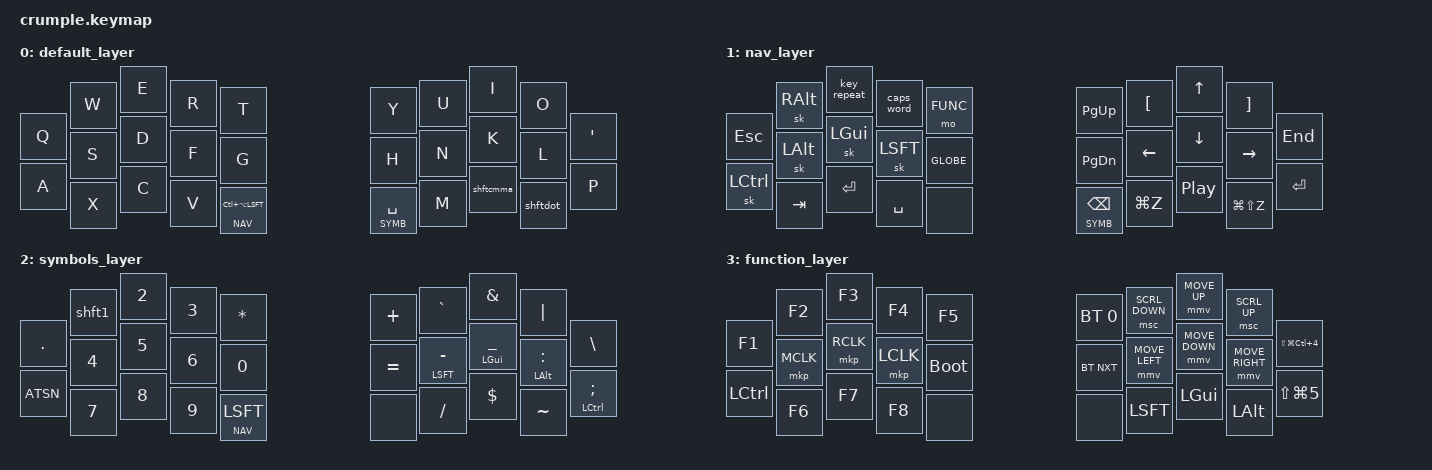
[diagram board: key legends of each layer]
/*
 * Copyright (c) 2020 The ZMK Contributors
 *
 * SPDX-License-Identifier: MIT
 */

#include <behaviors.dtsi>
#include <dt-bindings/zmk/keys.h>
#include <dt-bindings/zmk/bt.h>

#define ZMK_POINTING_DEFAULT_MOVE_VAL 1500
#define ZMK_POINTING_DEFAULT_SCRL_VAL 20
#include <dt-bindings/zmk/pointing.h>

#define DEFAULT 0
#define NAV 1
#define SYMB 2
#define FUNC 3

&sk {
  release-after-ms = <500>;
  quick-release;
};

&lt {
  flavor = "balanced";
  tapping-term-ms = <150>;
  quick-tap-ms = <200>;
};

// &mmv {
  // time-to-max-speed-ms = <300>;
  // acceleration-exponent = <1>;
// };

/ {
  combos {
    compatible = "zmk,combos";
    z {
      timeout-ms = <40>;
      key-positions = <11 12>;
      bindings = <&kp Z>;
      layers = <DEFAULT>;
    };
    b {
      timeout-ms = <40>;
      key-positions = <12 13>;
      bindings = <&kp B>;
      layers = <DEFAULT>;
    };
    j {
      timeout-ms = <40>;
      key-positions = <16 17>;
      bindings = <&kp J>;
      layers = <DEFAULT>;
    };
    slash {
      timeout-ms = <40>;
      key-positions = <17 18>;
      bindings = <&kp FSLH>;
      layers = <DEFAULT>;
    };

    britup {
      timeout-ms = <50>;
      key-positions = <1 2 3>;
      bindings = <&kp C_BRI_UP>;
      layers = <DEFAULT>;
    };
    caps {
      timeout-ms = <50>;
      key-positions = <11 12 13>;
      bindings = <&kp CAPS>;
      layers = <DEFAULT>;
    };
    britdn {
      timeout-ms = <50>;
      key-positions = <20 21 22>;
      bindings = <&kp C_BRI_DN>;
      layers = <DEFAULT>;
    };
    volup {
      timeout-ms = <50>;
      key-positions = <6 7 8>;
      bindings = <&kp C_VOL_UP>;
      layers = <DEFAULT>;
    };
    volmt {
      timeout-ms = <50>;
      key-positions = <16 17 18>;
      bindings = <&kp C_MUTE>;
      layers = <DEFAULT>;
    };
    voldn {
      timeout-ms = <50>;
      key-positions = <25 26 27>;
      bindings = <&kp C_VOL_DN>;
      layers = <DEFAULT>;
    };

    bksp {
      timeout-ms = <50>;
      key-positions = <21 22>;
      bindings = <&kp BKSP>;
      layers = <NAV>;
    };
    prev {
      timeout-ms = <50>;
      key-positions = <25 26>;
      bindings = <&kp C_PREV>;
      layers = <NAV>;
    };
    next {
      timeout-ms = <50>;
      key-positions = <26 27>;
      bindings = <&kp C_NEXT>;
      layers = <NAV>;
    };

    lpar {
      timeout-ms = <50>;
      key-positions = <12 13>;
      bindings = <&kp LPAR>;
      layers = <SYMB>;
    };
    rpar {
      timeout-ms = <50>;
      key-positions = <16 17>;
      bindings = <&kp RPAR>;
      layers = <SYMB>;
    };
    lbkt {
      timeout-ms = <50>;
      key-positions = <11 12>;
      bindings = <&kp LBKT>;
      layers = <SYMB>;
    };
    rbkt {
      timeout-ms = <50>;
      key-positions = <17 18>;
      bindings = <&kp RBKT>;
      layers = <SYMB>;
    };
    lbrc {
      timeout-ms = <50>;
      key-positions = <2 3>;
      bindings = <&kp LBRC>;
      layers = <SYMB>;
    };
    rbrc {
      timeout-ms = <50>;
      key-positions = <6 7>;
      bindings = <&kp RBRC>;
      layers = <SYMB>;
    };
    lt {
      timeout-ms = <50>;
      key-positions = <1 2>;
      bindings = <&kp LT>;
      layers = <SYMB>;
    };
    gt {
      timeout-ms = <50>;
      key-positions = <7 8>;
      bindings = <&kp GT>;
      layers = <SYMB>;
    };

    btclr {
      timeout-ms = <50>;
      key-positions = <10 19>;
      bindings = <&bt BT_CLR>;
      layers = <FUNC>;
    };
    f9 {
      timeout-ms = <50>;
      key-positions = <1 2>;
      bindings = <&kp F9>;
      layers = <FUNC>;
    };
    f10 {
      timeout-ms = <50>;
      key-positions = <2 3>;
      bindings = <&kp F10>;
      layers = <FUNC>;
    };
    f11 {
      timeout-ms = <50>;
      key-positions = <20 21>;
      bindings = <&kp F11>;
      layers = <FUNC>;
    };
    f12 {
      timeout-ms = <50>;
      key-positions = <21 22>;
      bindings = <&kp F12>;
      layers = <FUNC>;
    };
    bt0 {
      timeout-ms = <50>;
      key-positions = <11 12>;
      bindings = <&bt BT_SEL 0>;
      layers = <FUNC>;
    };
    btnxt {
      timeout-ms = <50>;
      key-positions = <12 13>;
      bindings = <&bt BT_NXT>;
      layers = <FUNC>;
    };
    scrl_left {
      timeout-ms = <50>;
      key-positions = <7 8>;
      bindings = <&msc SCRL_LEFT>;
      layers = <FUNC>;
    };
    scrl_right {
      timeout-ms = <50>;
      key-positions = <6 7>;
      bindings = <&msc SCRL_RIGHT>;
      layers = <FUNC>;
    };
  };

  behaviors {
    lm: layer_mod {
      compatible = "zmk,behavior-hold-tap";
      #binding-cells = <2>;
      flavor = "hold-preferred";
      tapping-term-ms = <150>;
      quick-tap-ms = <200>;
      bindings = <&mo>, <&sk>;
    };
    smt: sticky_mod_tap {
      compatible = "zmk,behavior-hold-tap";
      #binding-cells = <2>;
      flavor = "balanced";
      tapping-term-ms = <150>;
      quick-tap-ms = <200>;
      bindings = <&sk>, <&kp>;
    };

    shftcmma: shift_comma {
      compatible = "zmk,behavior-mod-morph";
      #binding-cells = <0>;
      bindings = <&kp CMMA>, <&kp QMARK>;
      mods = <(MOD_LSFT)>;
    };
    shftdot: shift_dot {
      compatible = "zmk,behavior-mod-morph";
      #binding-cells = <0>;
      bindings = <&kp DOT>, <&kp BANG>;
      mods = <(MOD_LSFT)>;
    };
    shft1: shift_1 {
      compatible = "zmk,behavior-mod-morph";
      #binding-cells = <0>;
      bindings = <&kp N1>, <&kp COMMA>;
      mods = <(MOD_LSFT)>;
    };

    conditional_layers {
      compatible = "zmk,conditional-layers";
      tri_layer {
        if-layers = <NAV SYMB>;
        then-layer = <FUNC>;
      };
    };
  };

  keymap {
    compatible = "zmk,keymap";
    default_layer {
      bindings = <
        &kp Q  &kp W  &kp E  &kp R  &kp T                           &kp Y  &kp U  &kp I   &kp O     &kp QUOT
        &kp A  &kp S  &kp D  &kp F  &kp G                           &kp H  &kp N  &kp K   &kp L     &kp P
               &kp X  &kp C  &kp V  &lm NAV LC(LA(LSFT))   &lt SYMB SPACE  &kp M  &shftcmma  &shftdot
      >;
    };

    nav_layer {
      bindings = <
        &kp ESC   &sk RALT  &key_repeat  &caps_word  &mo FUNC       &kp PG_UP     &kp LBKT        &kp UP          &kp RBKT        &kp END
        &sk LCTL  &sk LALT  &sk LGUI     &sk LSFT    &kp GLOBE        &kp PG_DN     &kp LEFT        &kp DOWN        &kp RIGHT       &kp ENTER
                  &kp TAB   &kp ENTER    &kp SPC     &none            &lt SYMB BKSP  &kp LG(Z)      &kp C_PP        &kp LG(LS(Z))
      >;
    };

    symbols_layer {
      bindings = <
        &kp DOT    &shft1   &kp N2  &kp N3  &kp STAR         &kp PLUS   &kp GRAV   &kp AMPS   &kp PIPE   &kp BSLH
        &kp ATSN     &kp N4  &kp N5  &kp N6  &kp N0          &kp EQUAL  &smt LSFT MINUS  &smt LGUI UNDER  &smt LALT COLON   &smt LCTL SEMI
                    &kp N7  &kp N8  &kp N9  &lm NAV LSFT    &none   &kp FSLH   &kp DLLR   &kp TILDE
      >;
    };

    function_layer {
      bindings = <
        &kp F1    &kp F2     &kp F3     &kp F4     &kp F5             &bt BT_SEL 0   &msc SCRL_DOWN  &mmv MOVE_UP     &msc SCRL_UP     &kp LS(LG(LC(N4)))
        &kp LCTL  &mkp MCLK  &mkp RCLK  &mkp LCLK  &bootloader        &bt BT_NXT     &mmv MOVE_LEFT  &mmv MOVE_DOWN   &mmv MOVE_RIGHT  &kp LS(LG(N5))
                &kp F6     &kp F7    &kp F8    &none                  &none     &kp LSFT        &kp LGUI         &kp LALT
      >;
    };
  };
};
